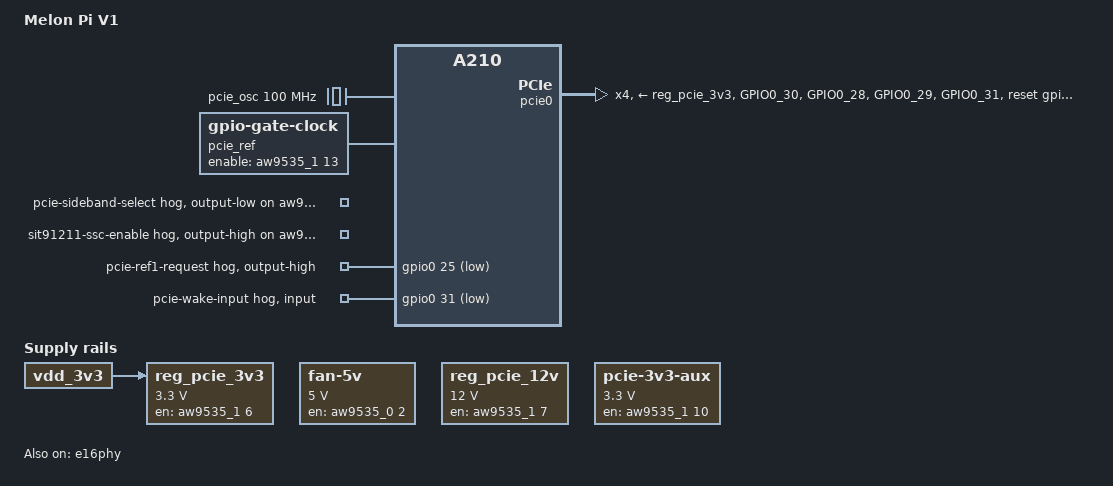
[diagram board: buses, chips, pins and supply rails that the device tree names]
// SPDX-License-Identifier: (GPL-2.0-only OR BSD-2-Clause)
/dts-v1/;

#include "a210-melonpi-common.dtsi"

/ {
	compatible = "zhihe,a210-melonpi-v1", "zhihe,a210-som", "zhihe,a210";
	model = "Melon Pi V1";

	pcie_osc: pcie-oscillator {
		compatible = "fixed-clock";
		#clock-cells = <0>;
		clock-frequency = <100000000>;
	};

	pcie_ref: pcie-reference-clock {
		compatible = "gpio-gate-clock";
		#clock-cells = <0>;
		clocks = <&pcie_osc>;
		enable-gpios = <&aw9535_1 13 GPIO_ACTIVE_HIGH>;
	};

	regulator-fan {
		compatible = "regulator-fixed";
		enable-active-high;
		gpio = <&aw9535_0 2 GPIO_ACTIVE_HIGH>;
		regulator-always-on;
		regulator-boot-on;
		regulator-max-microvolt = <5000000>;
		regulator-min-microvolt = <5000000>;
		regulator-name = "fan-5v";
	};

	reg_pcie_3v3: regulator-pcie-3v3 {
		compatible = "regulator-fixed";
		enable-active-high;
		gpio = <&aw9535_1 6 GPIO_ACTIVE_HIGH>;
		regulator-max-microvolt = <3300000>;
		regulator-min-microvolt = <3300000>;
		regulator-name = "pcie-3v3";
		startup-delay-us = <100000>;
		vin-supply = <&vdd_3v3>;
	};

	reg_pcie_12v: regulator-pcie-12v {
		compatible = "regulator-fixed";
		enable-active-high;
		gpio = <&aw9535_1 7 GPIO_ACTIVE_HIGH>;
		regulator-max-microvolt = <12000000>;
		regulator-min-microvolt = <12000000>;
		regulator-name = "pcie-12v";
		startup-delay-us = <100000>;
	};

	regulator-pcie-aux {
		/*
		 * WAKE# shares CHIP_ID1; keep AUX off without a wake consumer.
		 */
		compatible = "regulator-fixed";
		enable-active-high;
		gpio = <&aw9535_1 10 GPIO_ACTIVE_HIGH>;
		regulator-max-microvolt = <3300000>;
		regulator-min-microvolt = <3300000>;
		regulator-name = "pcie-3v3-aux";
	};
};

&aw9535_0 {
	/* U35 routes the shared pins to PCIe, leaving I2S0 disconnected. */
	pcie-sideband-select-hog {
		gpio-hog;
		gpios = <15 GPIO_ACTIVE_HIGH>;
		line-name = "pcie-sideband-select";
		output-low;
	};

	/* Keep the V1 clock control asserted across supply cycles. */
	sit91211-ssc-enable-hog {
		gpio-hog;
		gpios = <12 GPIO_ACTIVE_HIGH>;
		line-name = "sit91211-ssc-enable";
		output-high;
	};
};

&gpio0 {
	/* The x4 link needs PHY1's clock without the x1 controller. */
	pcie-ref1-request-hog {
		gpio-hog;
		gpios = <25 GPIO_ACTIVE_LOW>;
		line-name = "pcie-ref1-request";
		output-high;
	};

	/* The dedicated WAKE function is an output for endpoint mode. */
	pcie-wake-hog {
		gpio-hog;
		gpios = <31 GPIO_ACTIVE_LOW>;
		input;
		line-name = "pcie-wake-input";
	};
};

&peri1_padctrl {
	/* The host driver selects GPIO mode when it acquires PERST#. */
	pcie_reset_pins: pcie-reset-0 {
		gpio-pins {
			bias-disable;
			drive-strength = <7>;
			input-disable;
			pins = "GPIO0_30";
		};
	};

	pcie_sideband_pins: pcie-sideband-0 {
		/* BTN_RSTN reaches only TP41 through U35. */
		button-reset-pins {
			bias-pull-up;
			drive-strength = <7>;
			function = "pcie_x4";
			input-enable;
			input-schmitt-enable;
			pins = "GPIO0_28";
			slew-rate = <0>;
		};

		clkreq-pins {
			bias-disable;
			drive-strength = <7>;
			function = "pcie_x4";
			input-enable;
			input-schmitt-enable;
			pins = "GPIO0_29";
			slew-rate = <0>;
		};

		wake-pins {
			bias-disable;
			drive-strength = <7>;
			function = "gpio0";
			input-enable;
			input-schmitt-enable;
			pins = "GPIO0_31";
			slew-rate = <0>;
		};
	};
};

&e16phy {
	clocks = <&clk_pcie E16PHY_PCLK_EN>, <&pcie_ref>;
	clock-names = "apb", "ref";
	data-lanes = <1 1 1 1>;

	status = "okay";
};

&pcie0 {
	num-lanes = <4>;
	pinctrl-0 = <&pcie_reset_pins &pcie_sideband_pins>;
	pinctrl-names = "default";
	reset-gpios = <&gpio0 30 GPIO_ACTIVE_LOW>;
	vpcie3v3-supply = <&reg_pcie_3v3>;
	vpcie12v-supply = <&reg_pcie_12v>;

	status = "okay";
};

&sdio {
	bus-width = <4>;
	pinctrl-0 = <&sdio_pins>;
	pinctrl-names = "default";

	status = "disabled";
};
